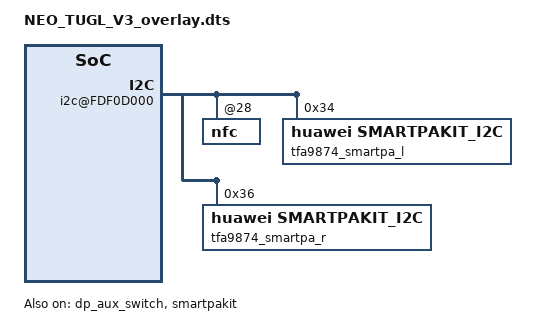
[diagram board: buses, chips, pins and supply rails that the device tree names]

/**
 * Copyright (C) 2014 Hisilicon Ltd.
 *
 *  This program is free software; you can redistribute it and/or modify
 *  it under the terms of the GNU General Public License version 2 as
 *  publishhed by the Free Software Foundation.
 */

/dts-v1/;
/plugin/;
/include/ "NEO_TUGL_V2_overlay.dtsi"

/ {
        board_id = <6488>;
};

&rootparam {
        hisi,dtbo_idx = <85>;
    hisi,boardid = <6 4 8 8>;
    hisi,boardname = "NEO_TUGL_V3";
};


&fingerprint {
	spi-max-frequency = <5000000>;
	fingerprint,product = "neo";

	fingerprint,navigation_adjust1 = <0>;
	fingerprint,navigation_adjust2 = <0>;

	fingerprint,fpc2050 = <1>;
	fingerprint,reset_gpio = <202>;
	fingerprint,irq_gpio = <209>;
	fingerprint,cs_gpio = <217>;
	fingerprint,spi_num = <2>;
	fingerprint,force_storage_type = <1>;
	fingerprint,sensor_type = <769>;
	pinctrl-names = "default", "idle";
};

&sensorhub{
                light{
                        als1{
                               als_phone_version = <101>;
                        };
                        als2{
                               als_phone_version = <101>;
                        };
                };
        };

&dp_aux_switch {
    aux_switch_from_fsa4476;
    status = "ok";
};

&smartpakit{
    dsp_img_name = "hifi_6403_tfa9874_devkit.img";
    status = "ok";
};

&amba {
    i2c@FDF0D000 {
        nfc@28 {
            clk_status ="xtal";
        };
        smartpa@4C{
            status = "disabled";
        };
        smartpa@4F{
            status = "disabled";
        };
        tfa9874_smartpa_l:smartpa@34{
            compatible = "huawei,smartpakit_i2c";
            reg = <0x34>;
            /* 0 MAXIM, 1 NXP, 2 TI, 3 OTHER */
            chip_vendor = <1>;
            /* refer to smartpakit.out_device prop */
            chip_id = <0>;
            chip_model = "tfa9874";
            status = "ok";

            /* reg_ctl node: a node contains three data<addr value ctl_type>
            * ctl_type: 0 read reg(default), 1 write reg, 2 only time delay
            * value:
            *     read:  reg number(num >= 1)
            *     write: reg value
            *     delay: time delay
            * time delay unit: msecs */
            version_regs = <0x03 1 0>;
            dump_regs = <0 256 0>;

            hw_reset {
                gpio_reset = <134>;
                /* gpio_state node: a node contains two data<state delay>
                * time delay unit: msecs */
                ctl_sequence = <1 1 0 1>;
            };

            irq_handler {
                gpio_irq = <200>;
                /* 0x0 IRQF_TRIGGER_NONE, 0x1 IRQF_TRIGGER_RISING, 0x2 IRQF_TRIGGER_FALLING, 0x4 IRQF_TRIGGER_HIGH, 0x8 IRQF_TRIGGER_LOW*/
                irq_flags = <2>;
                /* whether or not need reset chip*/
                need_reset;
                rw_sequence = <
                    0x10 1 0
                    0x11 1 0
                    0x13 1 0
                    0x14 1 0
                    0x40 1 0
                    0x41 1 0
                    0x42 1 0
                >;
            };

            regmap_cfg {
                reg_bits = <8>;
                val_bits = <16>;
                /* 0 REGCACHE_NONE, 1 REGCACHE_RBTREE, 2 REGCACHE_COMPRESSED, 3 REGCACHE_FLAT */
                cache_type = <0>;
                max_register = <0xff>;
                reg_defaults = <
                    0x00 0x1801
                    0x01 0x0014
                >;
            };
        };

        tfa9874_smartpa_r:smartpa@36{
            compatible = "huawei,smartpakit_i2c";
            reg = <0x36>;
            /* 0 MAXIM, 1 NXP, 2 TI, 3 OTHER */
            chip_vendor = <1>;
            /* refer to smartpakit.out_device prop */
            chip_id = <1>;
            chip_model = "tfa9874";
            status = "ok";

            /* reg_ctl node: a node contains three data<addr value ctl_type>
            * ctl_type: 0 read reg(default), 1 write reg, 2 only time delay
            * value:
            *     read:  reg number(num >= 1)
            *     write: reg value
            *     delay: time delay
            * time delay unit: msecs */
            version_regs = <0x03 1 0>;
            dump_regs = <0 256 0>;

            hw_reset {
                gpio_reset = <163>;
                /* gpio_state node: a node contains two data<state delay>
                * time delay unit: msecs */
                ctl_sequence = <1 1 0 1>;
            };

            irq_handler {
                gpio_irq = <184>;
                /* 0x0 IRQF_TRIGGER_NONE, 0x1 IRQF_TRIGGER_RISING, 0x2 IRQF_TRIGGER_FALLING, 0x4 IRQF_TRIGGER_HIGH, 0x8 IRQF_TRIGGER_LOW*/
                irq_flags = <2>;
                /* whether or not need reset chip*/
                need_reset;
                rw_sequence = <
                    0x10 1 0
                    0x11 1 0
                    0x13 1 0
                    0x14 1 0
                    0x40 1 0
                    0x41 1 0
                    0x42 1 0
                >;
            };

            regmap_cfg {
                reg_bits = <8>;
                val_bits = <16>;
                /* 0 REGCACHE_NONE, 1 REGCACHE_RBTREE, 2 REGCACHE_COMPRESSED, 3 REGCACHE_FLAT */
                cache_type = <0>;
                max_register = <0xff>;
                reg_defaults = <
                    0x00 0x1801
                    0x01 0x0014
                >;
            };
        };
    };
};
